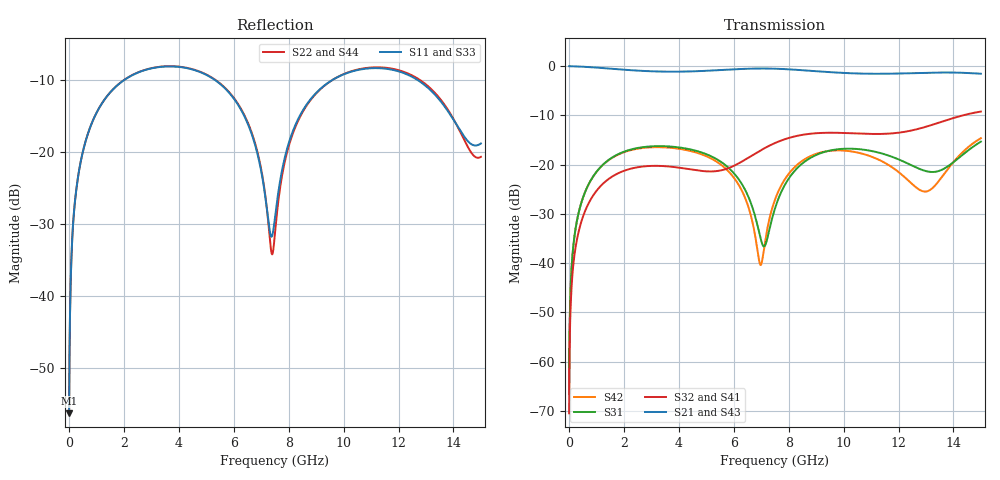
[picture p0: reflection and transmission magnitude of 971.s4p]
! Created with skrf 1.8.0 (http://scikit-rf.org).
# GHz S RI R 50.0
!freq ReS11 ImS11 ReS12 ImS12 ReS13 ImS13
! ReS14 ImS14
! ReS21 ImS21 ReS22 ImS22 ReS23 ImS23
! ReS24 ImS24
! ReS31 ImS31 ReS32 ImS32 ReS33 ImS33
! ReS34 ImS34
! ReS41 ImS41 ReS42 ImS42 ReS43 ImS43
! ReS44 ImS44
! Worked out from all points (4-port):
!   2499 points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, 5 MHz to 15 GHz, reference 50 ohm
!   strongest paths, dB at 5 MHz, 3.476 GHz, 7.19 GHz, 11.1 GHz, 15 GHz:
!     S21: 0.0, -1.1, -0.5, -1.6, -1.5
!     S43: 0.0, -1.1, -0.5, -1.6, -1.5
!     S32: -70.5, -20.3, -16.5, -13.8, -9.2
!     S41: -70.5, -20.4, -16.5, -13.9, -9.2
!     S31: -66.6, -16.3, -35.7, -17.3, -15.3
!     S42: -66.6, -16.5, -34.0, -18.6, -14.6
!   lowest |S11| = -56.3 dB at 5 MHz (marker M1), VSWR 1.00, Z = 50.1 + j0.0931 ohm
!   |S11| at or under -10 dB: start of sweep to 1.995 GHz; 5.331 GHz to 9.572 GHz (4.241 GHz wide, 56.9 % of centre); 12.71 GHz to end of sweep
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0.005  0.00122 0.000929  0.9988 -0.00237  5.95e-05 0.000465  -5.79e-05 -0.000293
       0.9988 -0.00237  0.00122 0.000929  -5.79e-05 -0.000293  5.94e-05 0.000465
       5.95e-05 0.000465  -5.79e-05 -0.000293  0.00122 0.000929  0.9988 -0.00237
       -5.79e-05 -0.000293  5.94e-05 0.000465  0.9988 -0.00237  0.00122 0.000929
0.4626928  0.0265 0.089  0.9632 -0.2166  0.0126 0.0403  -0.0103 -0.0251
           0.9632 -0.2166  0.0265 0.089  -0.0103 -0.0251  0.0121 0.0404
           0.0126 0.0403  -0.0103 -0.0251  0.0264 0.089  0.9632 -0.2167
           -0.0103 -0.0251  0.0121 0.0404  0.9632 -0.2167  0.0265 0.089
2.225927  0.2888 0.1735  0.5068 -0.7558  0.1329 0.049  -0.0903 0.000633
          0.5068 -0.7558  0.2905 0.1723  -0.0905 0.000983  0.1276 0.0571
          0.1329 0.049  -0.0905 0.000983  0.2887 0.1737  0.5068 -0.7558
          -0.0903 0.000633  0.1276 0.0571  0.5068 -0.7558  0.2907 0.1721
5.946228  0.1651 -0.1796  -0.7026 -0.6032  0.0255 -0.0814  -0.0439 0.0839
          -0.7026 -0.6032  0.1615 -0.1863  -0.0412 0.0862  0.0479 -0.0606
          0.0255 -0.0814  -0.0412 0.0862  0.1662 -0.1786  -0.7025 -0.6031
          -0.0439 0.0839  0.0479 -0.0606  -0.7025 -0.6031  0.1608 -0.1877
7.390579  0.0259 0.00266  -0.9416 -0.0564  -0.00606 0.0272  -0.00782 0.1602
          -0.9416 -0.0564  0.0195 -0.00194  -0.00231 0.1603  0.0166 0.0311
          -0.00606 0.0272  -0.00231 0.1603  0.0278 0.00237  -0.9416 -0.0562
          -0.00782 0.1602  0.0166 0.0311  -0.9416 -0.0562  0.0178 -0.00212
9.922885  0.3096 0.1471  -0.4535 0.7246  0.1437 -0.0137  0.1963 0.0694
          -0.4535 0.7246  0.3105 0.1479  0.2006 0.0619  0.1393 -0.00248
          0.1437 -0.0137  0.2006 0.0619  0.3096 0.1461  -0.4529 0.7247
          0.1963 0.0694  0.1393 -0.00248  -0.4529 0.7247  0.3117 0.1491
15  0.115 0.00547  0.8363 0.04  0.00251 0.1713  0.0174 -0.3452
    0.8363 0.04  0.0929 -0.000548  -0.00187 -0.3457  0.0046 0.1854
    0.00251 0.1713  -0.00187 -0.3457  0.1147 0.000392  0.8362 0.0393
    0.0174 -0.3452  0.0046 0.1854  0.8362 0.0393  0.0937 0.00256
